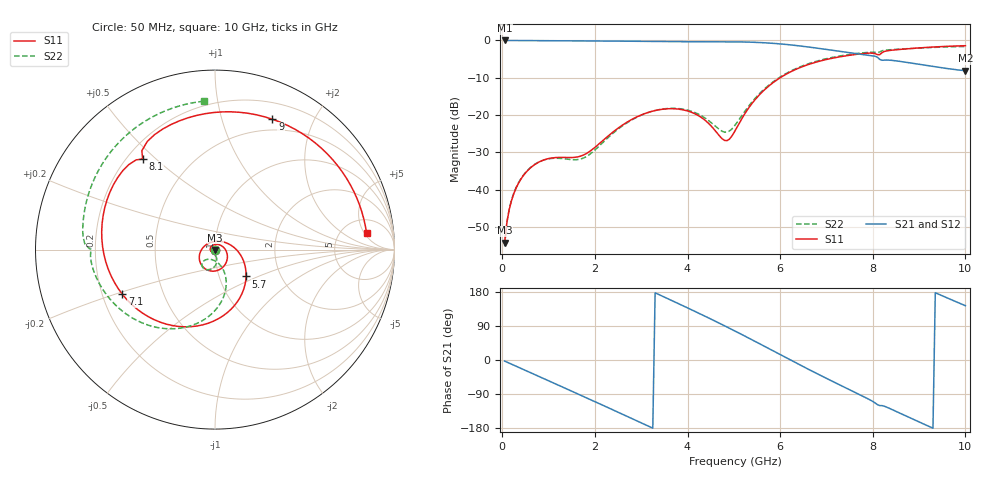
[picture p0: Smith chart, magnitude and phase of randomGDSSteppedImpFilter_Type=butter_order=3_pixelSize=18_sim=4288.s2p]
! freq	dB(S11)	phase(S11)	dB(S12)	phase(S12)
!  dB(S21)	phase(S21)	dB(S22)	phase(S22)
!S-par simulation data
#  GHz  S  DB  R 50
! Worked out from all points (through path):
!   200 points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, 50 MHz to 10 GHz, reference 50 ohm
!   highest |S21| = -0.01 dB at 50 MHz (marker M1); lowest = -8.1 dB at 10 GHz (marker M2)
!   group delay of S21, straight-line fit = 164 ps
!   lowest |S11| = -54.3 dB at 50 MHz (marker M3), VSWR 1.00, Z = 50 - j0.189 ohm
!   |S11| at or under -10 dB: start of sweep to 6.001 GHz
!   |S22| runs from -55.2 to -1.6 dB; largest |S21 - S12| = 0
!   S11 on the Smith chart (normalised r, x): 50 MHz: 1.00, -0.00; 5.7 GHz: 1.34, -0.42; 7.1 GHz: 0.28, -0.21; 8.1 GHz: 0.26, +0.45; 9 GHz: 0.37, +1.47; 10 GHz: 8, +6
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0.05  -54.26 -77.0  -0.01 -2.8  -0.01 -2.8  -55.18 -77.8
0.1  -48.72 -88.9  -0.01 -5.6  -0.01 -5.6  -48.74 -85.4
0.2  -42.90 -101.2  -0.02 -11.0  -0.02 -11.0  -42.74 -92.7
0.5  -35.54 -127.7  -0.04 -27.5  -0.04 -27.5  -35.44 -106.2
1.15  -31.41 171.8  -0.08 -63.1  -0.08 -63.1  -31.58 -121.4
1.75  -30.74 85.8  -0.12 -96.1  -0.12 -96.1  -31.55 -99.7
2.65  -22.26 -26.6  -0.20 -146.2  -0.20 -146.2  -22.44 -83.7
3.4  -18.56 -86.2  -0.30 171.7  -0.30 171.7  -18.52 -108.0
3.85  -18.49 -120.5  -0.34 146.1  -0.34 146.1  -18.33 -123.8
4.3  -20.68 -159.8  -0.35 120.1  -0.35 120.1  -20.20 -134.5
4.8  -26.81 112.0  -0.35 90.3  -0.35 90.3  -24.60 -109.3
5.05  -23.70 39.6  -0.38 74.9  -0.38 74.9  -22.34 -77.4
5.7  -12.81 -40.9  -0.66 33.6  -0.66 33.6  -12.57 -75.6
6.2  -8.58 -83.2  -1.16 1.5  -1.16 1.5  -8.39 -96.5
6.7  -6.09 -123.1  -1.90 -30.1  -1.90 -30.1  -5.89 -119.6
7.1  -4.84 -154.3  -2.59 -54.6  -2.59 -54.6  -4.62 -137.9
7.65  -3.72 163.2  -3.57 -87.5  -3.57 -87.5  -3.51 -162.0
8.1  -3.81 128.5  -4.50 -117.7  -4.50 -117.7  -3.24 179.9
8.35  -2.71 113.4  -5.28 -127.1  -5.28 -127.1  -2.52 169.6
9  -2.01 66.2  -6.40 -163.6  -6.40 -163.6  -2.03 140.9
9.5  -1.64 34.5  -7.35 169.4  -7.35 169.4  -1.78 118.3
10  -1.42 6.4  -8.11 143.3  -8.11 143.3  -1.63 94.3
